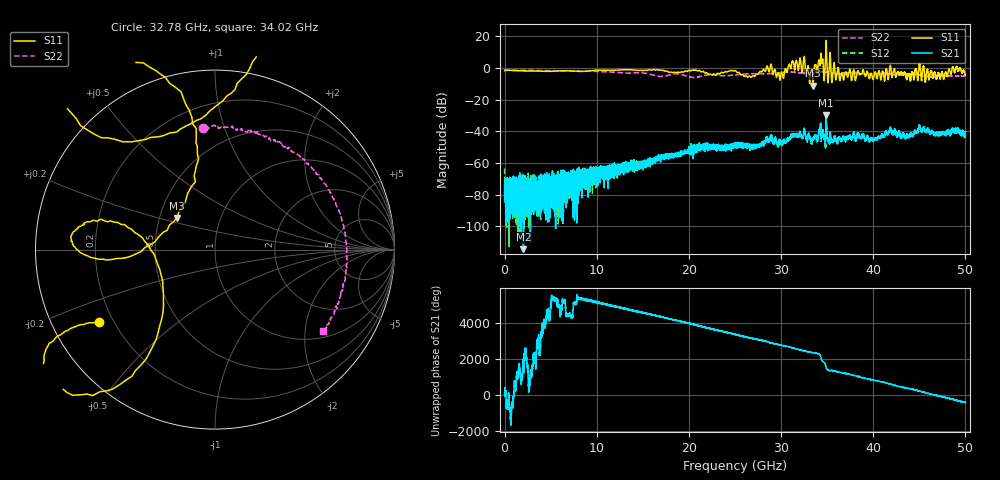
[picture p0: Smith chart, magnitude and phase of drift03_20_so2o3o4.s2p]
!Created with skrf (http://scikit-rf.org).
# Hz S RI R 50.0
!freq ReS11 ImS11 ReS21 ImS21 ReS12 ImS12 ReS22 ImS22
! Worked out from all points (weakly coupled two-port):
!   10001 points, 300 kHz to 50 GHz, reference 50 ohm
!   highest |S21| = -29.64 dB at 34.9 GHz (marker M1); lowest = -114.6 dB at 2.045 GHz (marker M2)
!   lowest |S11| = -11.1 dB at 33.47 GHz (marker M3), VSWR 1.77, Z = 30.7 + j11.7 ohm
!   |S11| at or under -10 dB: 33.44671 GHz to 33.48593 GHz (39.23 MHz wide, 0.117 % of centre)
!   |S22| runs from -6.0 to -1.3 dB; largest |S21 - S12| = 0.0069
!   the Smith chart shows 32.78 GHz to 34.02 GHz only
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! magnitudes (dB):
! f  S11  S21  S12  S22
! 300 kHz  -1.3  -73.6  -63.4  -2.1
! 290.3 MHz  -1.3  -78.4  -76.1  -1.4
! 2.045 GHz  -1.8  -114.6  -74.1  -1.3
! 4.725 GHz  -2.1  -79.1  -88.9  -1.6
! 8.335 GHz  -2.2  -71.1  -69.6  -1.9
! 16.67 GHz  -1.1  -56.9  -57.2  -5.2
! 25 GHz  -1.5  -49.3  -48.3  -4.3
! 26.92 GHz  -4.9  -49.5  -49.8  -3.6
! 28.73 GHz  -2.3  -44.8  -45.6  -3.5
! 30.06 GHz  -2.5  -47.3  -48.1  -2.9
! 31.87 GHz  -1.5  -42.9  -42.1  -2.9
! 33.34 GHz  -2.2  -48.1  -47.5  -2.9
! 33.47 GHz  -11.1  -44.8  -45.0  -2.8
! 34.3 GHz  7.0  -34.8  -34.9  -2.3
! 34.9 GHz  17.4  -29.6  -31.6  -2.4
! 36.58 GHz  -3.4  -45.5  -46.0  -3.6
! 40.19 GHz  -2.4  -44.7  -44.3  -3.7
! 41.67 GHz  -5.7  -40.8  -40.5  -3.7
! 45.22 GHz  -7.0  -39.1  -39.2  -4.6
! 47.06 GHz  -3.0  -41.7  -42.0  -5.1
! 49.22 GHz  -1.9  -40.9  -39.7  -5.1
! 50 GHz  -4.7  -42.5  -41.4  -5.0
